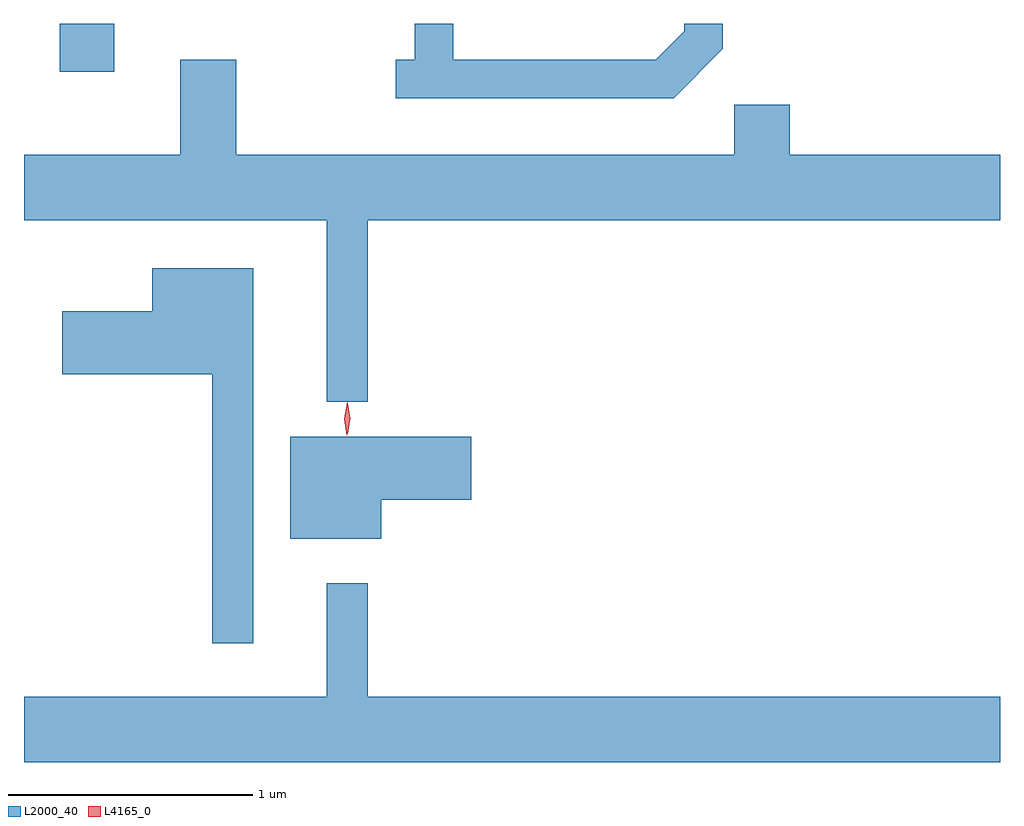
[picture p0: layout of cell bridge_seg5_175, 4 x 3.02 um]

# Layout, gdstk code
import gdstk
lib = gdstk.Library(unit=1e-6, precision=1e-09)
def R(c, l, rs):  # rectangles x0, y0, x1, y1
    for r in rs: c.add(gdstk.rectangle(r[:2], r[2:], *l))
def P(c, l, *ps):  # polygons
    for p in ps: c.add(gdstk.Polygon(p, *l))
L2000_40 = (2000, 40)
L4165_0 = (4165, 0)

bridge_seg5_175 = lib.new_cell('bridge_seg5_175')
R(bridge_seg5_175, L2000_40, [(1343.786,1444.086,1344.009,1444.281)])
P(bridge_seg5_175, L2000_40, [(1346.504,1444.179),(1346.504,1444.281),(1346.346,1444.281),(1346.346,1444.252),(1346.229,1444.134),(1345.399,1444.134),(1345.399,1444.281),(1345.241,1444.281),(1345.241,1444.134),(1345.163,1444.134),(1345.163,1443.976),(1346.302,1443.976)],
  [(1345.049,1443.476),(1347.64,1443.476),(1347.64,1443.744),(1346.779,1443.744),(1346.779,1443.949),(1346.551,1443.949),(1346.551,1443.744),(1344.509,1443.744),(1344.509,1444.134),(1344.281,1444.134),(1344.281,1443.744),(1343.64,1443.744),(1343.64,1443.476),(1344.881,1443.476),(1344.881,1442.733),(1345.049,1442.733)],
  [(1344.579,1443.279),(1344.166,1443.279),(1344.166,1443.104),(1343.796,1443.104),(1343.796,1442.846),(1344.411,1442.846),(1344.411,1441.743),(1344.579,1441.743)],
  [(1345.104,1442.331),(1345.474,1442.331),(1345.474,1442.589),(1344.731,1442.589),(1344.731,1442.171),(1345.104,1442.171)],
  [(1347.64,1441.524),(1345.049,1441.524),(1345.049,1441.988),(1344.881,1441.988),(1344.881,1441.524),(1343.64,1441.524),(1343.64,1441.256),(1347.64,1441.256)])
P(bridge_seg5_175, L4165_0, [(1344.962,1442.594),(1344.962,1442.594),(1344.953,1442.662),(1344.964,1442.73),(1344.964,1442.73),(1344.964,1442.73),(1344.973,1442.662),(1344.963,1442.594)],
  [(1344.966,1442.6),(1344.957,1442.664),(1344.966,1442.726),(1344.967,1442.727),(1344.967,1442.726),(1344.977,1442.664),(1344.967,1442.6),(1344.967,1442.6)])

lib.write_gds('bridge_seg5_175.gds')
